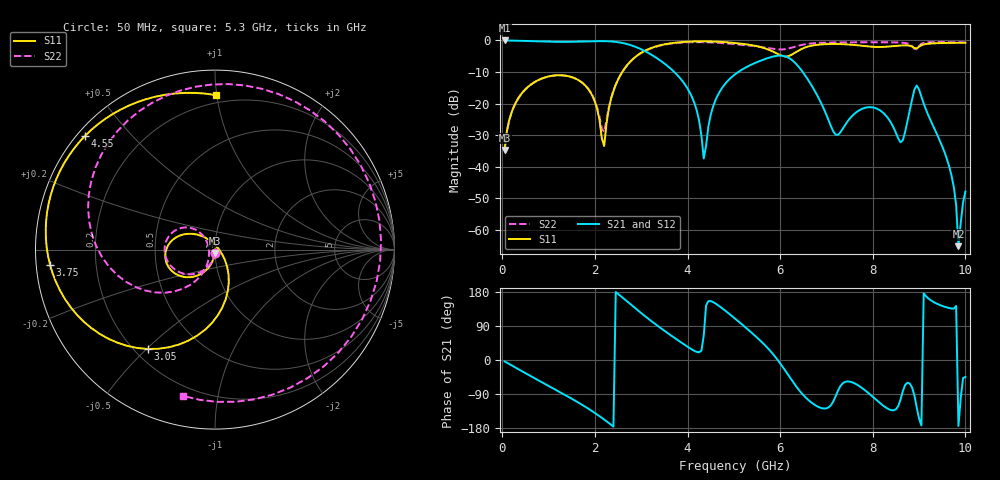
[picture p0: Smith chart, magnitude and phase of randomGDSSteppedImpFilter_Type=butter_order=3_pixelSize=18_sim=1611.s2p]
! freq	dB(S11)	phase(S11)	dB(S12)	phase(S12)
!  dB(S21)	phase(S21)	dB(S22)	phase(S22)
!S-par simulation data
#  GHz  S  DB  R 50
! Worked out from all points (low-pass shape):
!   200 points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, 50 MHz to 10 GHz, reference 50 ohm
!   highest |S21| = -0.01 dB at 50 MHz (marker M1); lowest = -65.2 dB at 9.85 GHz (marker M2)
!   |S21| within 3 dB of the highest: start of sweep to 3.028 GHz
!   lowest |S11| = -34.7 dB at 50 MHz (marker M3), VSWR 1.04, Z = 49.9 - j1.84 ohm
!   |S11| at or under -10 dB: start of sweep to 2.591 GHz
!   |S22| runs from -34.7 to -0.5 dB; largest |S21 - S12| = 0
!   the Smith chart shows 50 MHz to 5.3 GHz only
!   S11 on the Smith chart (normalised r, x): 50 MHz: 1.00, -0.04; 3.05 GHz: 0.25, -0.50; 3.75 GHz: 0.04, -0.05; 4.55 GHz: 0.02, +0.38; 5.3 GHz: 0.15, +1.00
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0.05  -34.68 -93.0  -0.01 -3.6  -0.01 -3.6  -34.69 -93.5
0.55  -14.78 -125.9  -0.20 -38.2  -0.20 -38.2  -14.79 -131.3
1.75  -13.70 157.1  -0.35 -120.2  -0.35 -120.2  -13.67 143.4
2.2  -33.44 8.9  -0.23 -157.0  -0.23 -157.0  -28.99 -158.4
3.05  -3.50 -124.1  -3.16 118.9  -3.16 118.9  -3.57 178.1
3.4  -1.57 -151.4  -6.23 86.1  -6.23 86.1  -1.67 140.2
3.75  -0.70 -174.6  -10.52 55.7  -10.52 55.7  -0.85 102.2
4.35  -0.28 150.2  -37.40 64.6  -37.40 64.6  -0.56 30.1
4.55  -0.34 138.7  -21.01 153.0  -21.01 153.0  -0.66 3.0
5.05  -0.85 108.0  -10.46 106.8  -10.46 106.8  -1.22 -68.3
5.3  -1.31 89.6  -8.23 81.0  -8.23 81.0  -1.57 -102.4
5.9  -3.93 6.0  -4.95 7.5  -4.95 7.5  -2.75 -167.6
6.2  -4.85 -93.6  -5.65 -44.4  -5.65 -44.4  -2.50 172.8
6.7  -1.61 145.0  -14.78 -114.5  -14.78 -114.5  -0.92 131.5
7.25  -1.14 76.1  -29.91 -80.6  -29.91 -80.6  -0.62 89.4
7.75  -1.65 3.1  -21.80 -72.3  -21.80 -72.3  -0.58 56.7
8.35  -1.93 -122.6  -25.06 -130.2  -25.06 -130.2  -0.59 21.6
8.6  -1.62 -165.8  -32.30 -104.3  -32.30 -104.3  -0.69 7.1
9  -1.97 155.0  -15.58 -154.6  -15.58 -154.6  -1.73 0.3
9.7  -0.77 100.0  -42.79 135.9  -42.79 135.9  -0.54 -39.1
9.85  -0.75 91.1  -65.19 -174.1  -65.19 -174.1  -0.57 -45.6
10  -0.76 82.5  -47.89 -44.9  -47.89 -44.9  -0.60 -52.0
